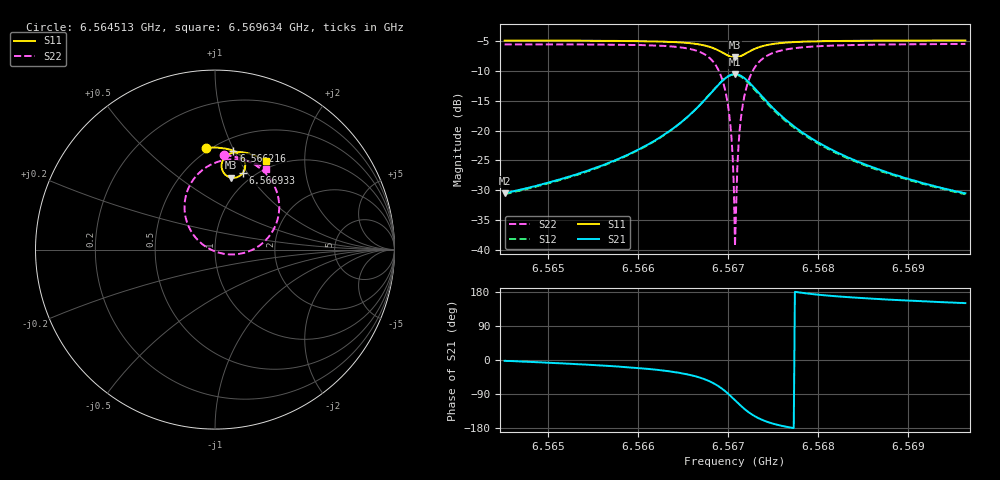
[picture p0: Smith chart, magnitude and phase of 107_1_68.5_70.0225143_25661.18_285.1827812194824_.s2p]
#  HZ  S  RI  R  50.00
! Rohde & Schwarz Vector Network Analyzer
! Rohde-Schwarz,ZNB20-2Port,1311601062101988,3.16
! Created: UTC 3/20/2024, 4:53:18 PM
! freq[Hz]  re:S11  im:S11  re:S21  im:S21  re:S12  im:S12  re:S22  im:S22
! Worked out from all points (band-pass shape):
!   401 points, 6.564513 GHz to 6.569634 GHz, reference 50 ohm
!   highest |S21| = -10.52 dB at 6.567074 GHz (marker M1); lowest = -30.5 dB at 6.564513 GHz (marker M2)
!   |S21| within 3 dB of the highest: 6.566817 GHz to 6.56733 GHz (512.4 kHz wide, 0.0078 % of centre)
!   lowest |S11| = -7.7 dB at 6.567074 GHz (marker M3), VSWR 2.40, Z = 41.8 + j40.4 ohm
!   |S11| at or under -10 dB: nowhere
!   |S22| runs from -39.4 to -5.4 dB; largest |S21 - S12| = 0.015
!   S11 on the Smith chart (normalised r, x): 6.564513 GHz: 0.47, +0.80; 6.566216 GHz: 0.62, +0.99; 6.566933 GHz: 0.89, +0.95; 6.569634 GHz: 0.89, +1.31
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6.5645132e9  -0.0501 0.5671  0.0298 -0.00114  0.0292 -0.00169  0.0524 0.5263
6.565371e9  0.0212 0.5677  0.0436 -0.00904  0.0429 -0.00951  0.1363 0.5106
6.566216e9  0.1026 0.5505  0.0768 -0.0377  0.0756 -0.0386  0.2551 0.4496
6.5662288e9  0.1041 0.5498  0.0776 -0.0387  0.0765 -0.0396  0.2574 0.4478
6.5667153e9  0.1625 0.4966  0.114 -0.1311  0.1113 -0.1338  0.3561 0.2675
6.5668433e9  0.1679 0.4591  0.1026 -0.197  0.0973 -0.2007  0.3402 0.1419
6.5669329e9  0.1543 0.4257  0.0617 -0.254  0.0526 -0.2572  0.2649 0.0357
6.5669713e9  0.141 0.4128  0.0309 -0.2752  0.0195 -0.2768  0.207 -0.00178
6.5670098e9  0.1232 0.4034  -0.00845 -0.289  -0.0213 -0.2882  0.1347 -0.0241
6.5670354e9  0.1094 0.4003  -0.0377 -0.2923  -0.051 -0.2892  0.0815 -0.0269
6.5670482e9  0.1022 0.4  -0.0529 -0.2917  -0.0662 -0.2874  0.0546 -0.0243
6.567061e9  0.0949 0.4004  -0.0679 -0.2896  -0.0812 -0.2842  0.0278 -0.0189
6.5670738e9  0.0876 0.4015  -0.0828 -0.2862  -0.0958 -0.2796  0.00151 -0.0106
6.5670994e9  0.0739 0.4064  -0.1111 -0.2748  -0.123 -0.2658  -0.047 0.0132
6.567125e9  0.0618 0.4139  -0.1363 -0.2583  -0.1464 -0.2478  -0.0886 0.0459
6.5671506e9  0.0518 0.4237  -0.157 -0.2381  -0.1651 -0.2264  -0.1216 0.0843
6.5672018e9  0.0396 0.4463  -0.1837 -0.193  -0.1878 -0.1805  -0.1607 0.1674
6.5672658e9  0.037 0.474  -0.1938 -0.139  -0.1939 -0.1277  -0.1686 0.2629
6.5675091e9  0.0753 0.5302  -0.1484 -0.0291  -0.145 -0.0246  -0.0646 0.4476
6.5679316e9  0.1384 0.5435  -0.0849 0.00894  -0.0828 0.0103  0.0766 0.5017
6.5687893e9  0.2208 0.5248  -0.0411 0.0156  -0.0403 0.0159  0.2082 0.4856
6.5696343e9  0.2845 0.4952  -0.0259 0.0149  -0.0251 0.0149  0.2856 0.4515
